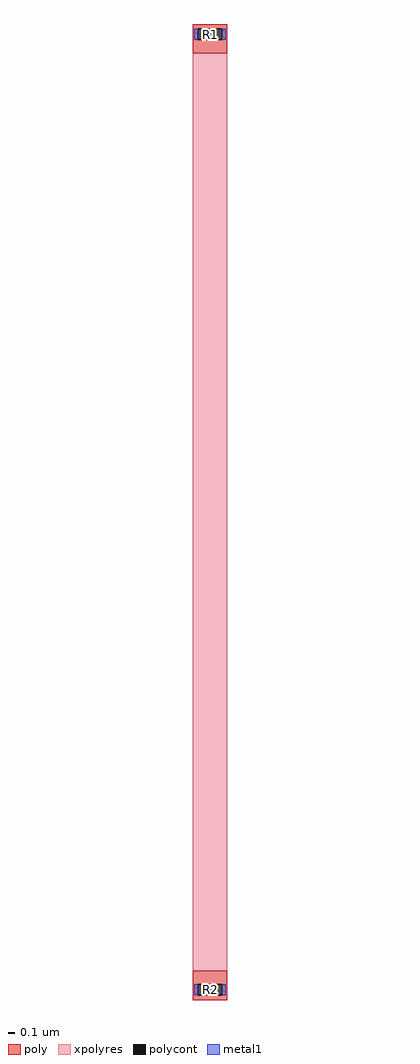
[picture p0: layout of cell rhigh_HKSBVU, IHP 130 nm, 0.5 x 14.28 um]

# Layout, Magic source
magic
tech ihp-sg13cmos5l
<< poly >>
rect -25 707 25 714
rect -25 691 -18 707
rect 18 691 25 707
rect -25 671 25 691
rect -25 -691 25 -671
rect -25 -707 -18 -691
rect 18 -707 25 -691
rect -25 -714 25 -707
<< polycont >>
rect -18 691 18 707
rect -18 -707 18 -691
<< xpolyres >>
rect -25 -671 25 671
<< metal1 >>
rect -23 691 -18 707
rect 18 691 23 707
rect -23 -707 -18 -691
rect 18 -707 23 -691
<< labels >>
rlabel polycont 0 699 0 699 0 R1
port 3 nsew
rlabel polycont 0 -699 0 -699 0 R2
port 4 nsew
<< properties >>
string gencell rhigh
string library sg13cmos5l
string MASKHINTS_CONTBAR -25 -714 25 714
string parameters w 0.5 l 13.42 m 1 nx 1 wmin 0.50 lmin 0.50 class resistor rho 1360 val 36.502k dummy 0 dw 0.0 term 0.0 sterm 0.0 caplen 0 bar 1 guard 0 glc 1 grc 1 gtc 1 gbc 1 snake 0 full_metal 1 n_guard 0 hv_guard 0 vias 0 viagb 0 viagt 0 viagl 0 viagr 0 doports 1
<< end >>
